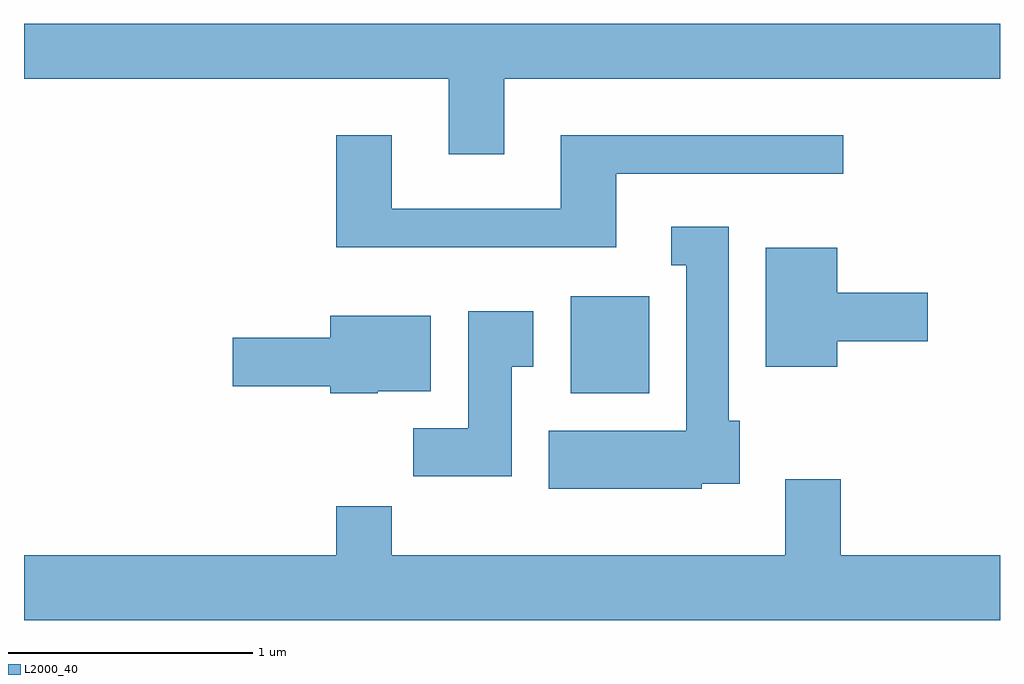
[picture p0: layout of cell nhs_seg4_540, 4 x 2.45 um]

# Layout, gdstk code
import gdstk
lib = gdstk.Library(unit=1e-6, precision=1e-09)
def R(c, l, rs):  # rectangles x0, y0, x1, y1
    for r in rs: c.add(gdstk.rectangle(r[:2], r[2:], *l))
def P(c, l, *ps):  # polygons
    for p in ps: c.add(gdstk.Polygon(p, *l))
L2000_40 = (2000, 40)

nhs_seg4_540 = lib.new_cell('nhs_seg4_540')
R(nhs_seg4_540, L2000_40, [(201.851,1384.466,202.174,1384.864)])
P(nhs_seg4_540, L2000_40, [(201.579,1385.756),(203.611,1385.756),(203.611,1385.982),(199.611,1385.982),(199.611,1385.756),(201.351,1385.756),(201.351,1385.446),(201.579,1385.446)],
  [(202.039,1385.366),(202.968,1385.366),(202.968,1385.524),(201.811,1385.524),(201.811,1385.224),(201.119,1385.224),(201.119,1385.524),(200.891,1385.524),(200.891,1385.066),(202.039,1385.066)],
  [(202.389,1384.096),(202.544,1384.096),(202.544,1384.354),(202.499,1384.354),(202.499,1385.149),(202.263,1385.149),(202.263,1384.991),(202.326,1384.991),(202.326,1384.314),(201.761,1384.314),(201.761,1384.076),(202.389,1384.076)],
  [(202.944,1384.681),(203.314,1384.681),(203.314,1384.879),(202.944,1384.879),(202.944,1385.064),(202.651,1385.064),(202.651,1384.576),(202.944,1384.576)],
  [(201.609,1384.576),(201.699,1384.576),(201.699,1384.804),(201.431,1384.804),(201.431,1384.324),(201.206,1384.324),(201.206,1384.126),(201.609,1384.126)],
  [(201.06,1384.476),(201.279,1384.476),(201.279,1384.784),(200.866,1384.784),(200.866,1384.694),(200.466,1384.694),(200.466,1384.496),(200.866,1384.496),(200.866,1384.466),(201.06,1384.466)],
  [(203.611,1383.804),(202.959,1383.804),(202.959,1384.114),(202.731,1384.114),(202.731,1383.804),(201.119,1383.804),(201.119,1384.004),(200.891,1384.004),(200.891,1383.804),(199.611,1383.804),(199.611,1383.536),(203.611,1383.536)])

lib.write_gds('nhs_seg4_540.gds')
